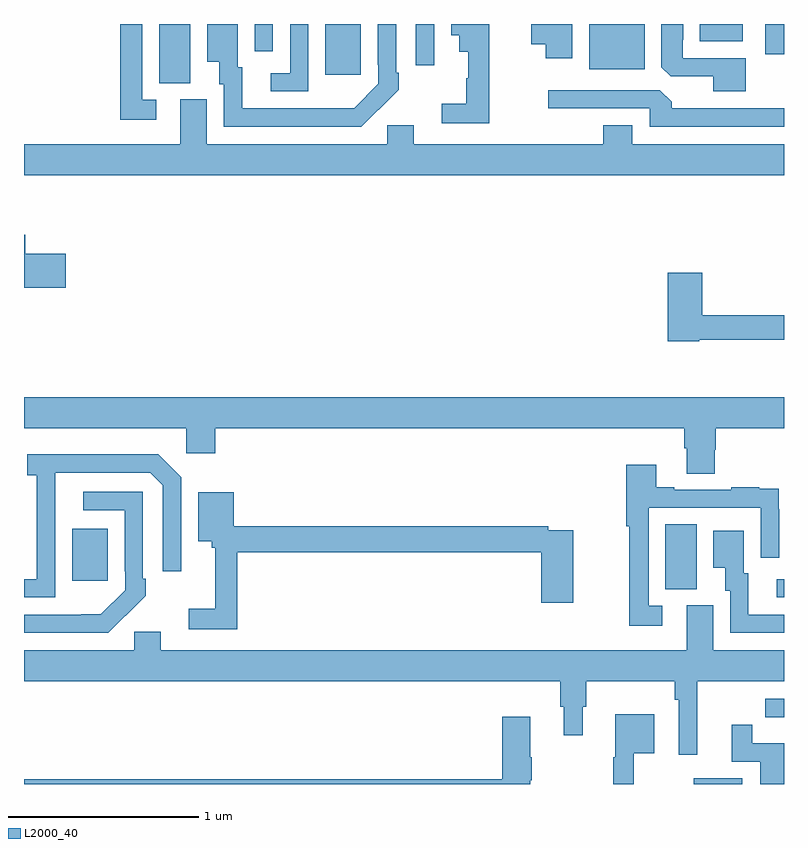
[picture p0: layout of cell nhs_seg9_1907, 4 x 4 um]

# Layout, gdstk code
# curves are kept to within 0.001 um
import gdstk
lib = gdstk.Library(unit=1e-6, precision=1e-09)
def R(c, l, rs):  # rectangles x0, y0, x1, y1
    for r in rs: c.add(gdstk.rectangle(r[:2], r[2:], *l))
def P(c, l, *ps):  # polygons
    for p in ps: c.add(gdstk.Polygon(p, *l))
L2000_40 = (2000, 40)

nhs_seg9_1907 = lib.new_cell('nhs_seg9_1907')
R(nhs_seg9_1907, L2000_40, [(220.526,1242.5,220.78,1242.529), (220.902,1242.852,221,1242.948), (220.962,1243.482,221,1243.578), (220.376,1243.525,220.54,1243.868), (217.253,1243.569,217.441,1243.843), (217.712,1246.189,217.876,1246.5), (218.585,1246.233,218.773,1246.5), (219.974,1246.262,220.267,1246.5), (219.063,1246.284,219.159,1246.5), (220.902,1246.34,221,1246.5), (218.214,1246.356,218.31,1246.5), (220.556,1246.409,220.783,1246.5)])
P(nhs_seg9_1907, L2000_40, [(217.696,1246.101),(217.623,1246.101),(217.623,1246.5),(217.507,1246.5),(217.507,1245.996),(217.696,1245.996)],
  [(219.886,1246.5),(219.671,1246.5),(219.671,1246.394),(219.745,1246.394),(219.745,1246.32),(219.886,1246.32)],
  [(218.496,1246.5),(218.4,1246.5),(218.4,1246.242),(218.298,1246.242),(218.298,1246.146),(218.496,1246.146)],
  [(220.798,1246.32),(220.467,1246.32),(220.467,1246.417),(220.471,1246.417),(220.471,1246.5),(220.355,1246.5),(220.355,1246.273),(220.404,1246.224),(220.628,1246.224),(220.628,1246.145),(220.798,1246.145)],
  [(219.448,1246.5),(219.248,1246.5),(219.248,1246.442),(219.29,1246.442),(219.29,1246.355),(219.338,1246.355),(219.338,1246.215),(219.327,1246.215),(219.327,1246.079),(219.198,1246.079),(219.198,1245.978),(219.448,1245.978)],
  [(218.867,1246.051),(218.868,1246.05),(218.973,1246.155),(218.973,1246.243),(218.958,1246.243),(218.958,1246.5),(218.862,1246.5),(218.862,1246.285),(218.865,1246.285),(218.865,1246.185),(218.737,1246.057),(218.633,1246.056),(218.149,1246.056),(218.149,1246.272),(218.125,1246.272),(218.125,1246.498),(217.964,1246.498),(217.964,1246.301),(218.027,1246.301),(218.027,1246.182),(218.052,1246.182),(218.052,1245.96),(218.776,1245.96)],
  [(221,1246.056),(220.409,1246.056),(220.409,1246.09),(220.347,1246.152),(219.759,1246.152),(219.759,1246.056),(220.293,1246.056),(220.293,1245.96),(221,1245.96)],
  [(221,1245.868),(220.201,1245.868),(220.201,1245.967),(220.049,1245.967),(220.049,1245.868),(219.052,1245.868),(219.052,1245.966),(218.913,1245.966),(218.913,1245.868),(217.963,1245.868),(217.963,1246.104),(217.823,1246.104),(217.823,1245.868),(217,1245.868),(217,1245.704),(221,1245.704)],
  [(217.219,1245.291),(217.007,1245.291),(217.007,1245.391),(217,1245.391),(217,1245.113),(217.219,1245.113)],
  [(220.554,1244.838),(221,1244.838),(221,1244.966),(220.571,1244.966),(220.571,1245.19),(220.388,1245.19),(220.388,1244.83),(220.554,1244.83)],
  [(217,1244.372),(217.854,1244.372),(217.854,1244.241),(218.006,1244.241),(218.006,1244.372),(220.475,1244.372),(220.475,1244.266),(220.487,1244.266),(220.487,1244.134),(220.635,1244.134),(220.635,1244.259),(220.64,1244.259),(220.64,1244.372),(221,1244.372),(221,1244.536),(217,1244.536)],
  [(217.164,1243.939),(217.165,1244.139),(217.665,1244.139),(217.731,1244.073),(217.731,1243.62),(217.827,1243.62),(217.827,1244.115),(217.706,1244.236),(217.017,1244.236),(217.017,1244.126),(217.068,1244.126),(217.068,1243.578),(217,1243.578),(217,1243.482),(217.164,1243.482)],
  [(220.36,1243.437),(220.287,1243.437),(220.287,1243.953),(220.878,1243.953),(220.878,1243.692),(220.974,1243.692),(220.974,1243.946),(220.973,1243.946),(220.973,1244.055),(220.871,1244.055),(220.871,1244.062),(220.723,1244.062),(220.723,1244.049),(220.423,1244.049),(220.423,1244.062),(220.327,1244.062),(220.327,1244.179),(220.171,1244.179),(220.171,1243.856),(220.186,1243.856),(220.186,1243.332),(220.36,1243.332)],
  [(217.535,1243.387),(217.536,1243.386),(217.641,1243.491),(217.641,1243.579),(217.626,1243.579),(217.626,1244.037),(217.311,1244.037),(217.311,1243.941),(217.53,1243.941),(217.53,1243.621),(217.533,1243.621),(217.533,1243.521),(217.405,1243.393),(217,1243.392),(217,1243.296),(217.444,1243.296)],
  [(218.123,1243.72),(219.722,1243.72),(219.722,1243.455),(219.892,1243.455),(219.892,1243.836),(219.758,1243.836),(219.758,1243.856),(218.104,1243.856),(218.104,1244.035),(217.916,1244.035),(217.916,1243.778),(217.988,1243.778),(217.988,1243.743),(218.006,1243.743),(218.006,1243.423),(217.866,1243.423),(217.866,1243.314),(218.123,1243.314)],
  [(221,1243.392),(220.813,1243.392),(220.813,1243.608),(220.789,1243.608),(220.789,1243.834),(220.628,1243.834),(220.628,1243.637),(220.691,1243.637),(220.691,1243.518),(220.716,1243.518),(220.716,1243.296),(221,1243.296)],
  [(220.544,1243.04),(221,1243.04),(221,1243.204),(220.627,1243.204),(220.627,1243.44),(220.487,1243.44),(220.487,1243.204),(217.72,1243.204),(217.72,1243.302),(217.581,1243.302),(217.581,1243.204),(217,1243.204),(217,1243.04),(219.823,1243.04),(219.823,1242.906),(219.842,1242.906),(219.842,1242.756),(219.94,1242.756),(219.94,1242.906),(219.959,1242.906),(219.959,1243.04),(220.426,1243.04),(220.426,1242.944),(220.446,1242.944),(220.446,1242.654),(220.544,1242.654)],
  [(220.209,1242.662),(220.318,1242.662),(220.318,1242.868),(220.112,1242.868),(220.112,1242.642),(220.101,1242.642),(220.101,1242.5),(220.209,1242.5)],
  [(219.664,1242.52),(219.672,1242.52),(219.672,1242.64),(219.664,1242.64),(219.664,1242.853),(219.518,1242.853),(219.518,1242.524),(217,1242.524),(217,1242.5),(219.664,1242.5)],
  [(221,1242.714),(220.832,1242.714),(220.832,1242.811),(220.724,1242.811),(220.724,1242.618),(220.874,1242.618),(220.874,1242.5),(221,1242.5)])

lib.write_gds('nhs_seg9_1907.gds')
